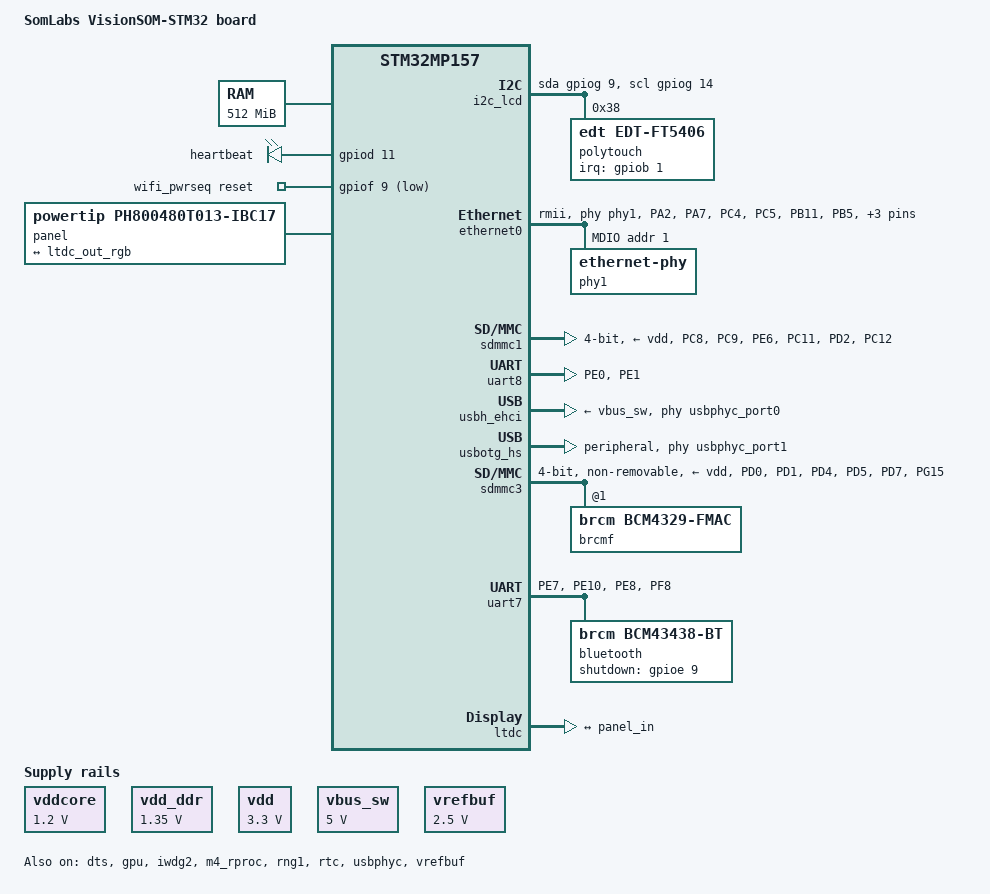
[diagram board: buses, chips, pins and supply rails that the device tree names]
// SPDX-License-Identifier: (GPL-2.0+ OR BSD-3-Clause)
/*
 * Copyright (C) STMicroelectronics 2018 - All Rights Reserved
 * Author: Alexandre Torgue <alexandre.torgue@st.com>.
 */

/dts-v1/;

#include "stm32mp157c.dtsi"
#include "stm32mp157c-m4-srm.dtsi"
#include "stm32mp157cab-pinctrl.dtsi"
#include <dt-bindings/gpio/gpio.h>
#include <dt-bindings/input/input.h>
#include <dt-bindings/rtc/rtc-stm32.h>

/ {
	model = "SomLabs VisionSOM-STM32 board";
	compatible = "st,stm32mp157a-visionsom", "st,stm32mp157a-dk1", "st,stm32mp157";

	aliases {
		ethernet0 = &ethernet0;
		serial0 = &uart8;
        serial1 = &uart7;
	};

	chosen {
		stdout-path = "serial0:115200n8";
	};

	memory@c0000000 {
		reg = <0xc0000000 0x20000000>;
	};

	reserved-memory {
		#address-cells = <1>;
		#size-cells = <1>;
		ranges;

		retram: retram@0x38000000 {
			compatible = "shared-dma-pool";
			reg = <0x38000000 0x10000>;
			no-map;
		};

		mcuram: mcuram@0x30000000 {
			compatible = "shared-dma-pool";
			reg = <0x30000000 0x40000>;
			no-map;
		};

		mcuram2: mcuram2@0x10000000 {
			compatible = "shared-dma-pool";
			reg = <0x10000000 0x40000>;
			no-map;
		};

		vdev0vring0: vdev0vring0@10040000 {
			compatible = "shared-dma-pool";
			reg = <0x10040000 0x2000>;
			no-map;
		};

		vdev0vring1: vdev0vring1@10042000 {
			compatible = "shared-dma-pool";
			reg = <0x10042000 0x2000>;
			no-map;
		};

		vdev0buffer: vdev0buffer@10044000 {
			compatible = "shared-dma-pool";
			reg = <0x10044000 0x4000>;
			no-map;
		};

		gpu_reserved: gpu@dc000000 {
			reg = <0xdc000000 0x4000000>;
			no-map;
		};
	};

	sram: sram@10050000 {
		compatible = "mmio-sram";
		reg = <0x10050000 0x10000>;
		#address-cells = <1>;
		#size-cells = <1>;
		ranges = <0 0x10050000 0x10000>;

		dma_pool: dma_pool@0 {
			reg = <0x0 0x10000>;
			pool;
		};
	};

	led {
		compatible = "gpio-leds";
		blue {
			label = "heartbeat";
			gpios = <&gpiod 11 GPIO_ACTIVE_HIGH>;
			linux,default-trigger = "heartbeat";
			default-state = "off";
		};
	};

	usb_phy_tuning: usb-phy-tuning {
		st,hs-dc-level = <2>;
		st,fs-rftime-tuning;
		st,hs-rftime-reduction;
		st,hs-current-trim = <15>;
		st,hs-impedance-trim = <1>;
		st,squelch-level = <3>;
		st,hs-rx-offset = <2>;
		st,no-lsfs-sc;
	};

    vddcore: regulator-vddcore {
        compatible = "regulator-fixed";
        regulator-name = "vddcore";
        regulator-min-microvolt = <1200000>;
        regulator-max-microvolt = <1200000>;
        enable-active-high;
        regulator-always-on;
        regulator-initial-mode = <0>;
        //regulator-over-current-protection;
    };

    vdd_ddr: regulator_cvv_ddr {
        compatible = "regulator-fixed";
        regulator-name = "vdd_ddr";
        regulator-min-microvolt = <1350000>;
        regulator-max-microvolt = <1350000>;
        enable-active-high;
        regulator-always-on;
        regulator-initial-mode = <0>;
        //regulator-over-current-protection;
    };

    vdd: regulator_vdd {
        compatible = "regulator-fixed";
        regulator-name = "vdd";
        regulator-min-microvolt = <3300000>;
        regulator-max-microvolt = <3300000>;
        enable-active-high;
        regulator-always-on;
        regulator-initial-mode = <0>;
        //regulator-over-current-protection;
    };

	vbus_sw: regulator_vbus_sw {
		//pinctrl-names = "default";
		//pinctrl-0 = <&usb_vbus_sw_mx>;
		compatible = "regulator-fixed";
        regulator-name = "VBUS";
        regulator-min-microvolt = <5000000>;
        regulator-max-microvolt = <5000000>;
		//gpio = <&gpioc 2 GPIO_ACTIVE_LOW>;
		enable-active-high;
	};

    wifi_pwrseq: wifi-pwrseq {      /* WLAN-ENABLE/WL_REG_ON */
		compatible = "mmc-pwrseq-simple";
		reset-gpios = <&gpiof 9 GPIO_ACTIVE_LOW>;
	};

/*
	backlight_display: backlight-display {
			compatible = "pwm-backlight";
			pwms = <&pwm1 0 5000000>;
			brightness-levels = <0 4 8 16 32 64 128 255>;
			default-brightness-level = <6>;
			status = "okay";
	};
*/
	panel {
		compatible = "powertip,ph800480t013-ibc17", "simple-panel";

		pinctrl-names = "default", "sleep";
		pinctrl-0 = <&ltdc_pins_mx>;
		pinctrl-1 = <&ltdc_sleep_pins_mx>;
//		backlight = <&backlight_display>;

		//bits-per-pixel = <16>;
		//bus-width = <24>;

		// display-timings {
		// 	native-mode = <&timing0>;
		// 	timing0: timing0 {
		// 		clock-frequency = <33300000>;
		// 		hactive = <800>;
		// 		vactive = <480>;
		// 		hfront-porch = <210>;
		// 		hback-porch = <46>;
		// 		hsync-len = <46>;
		// 		vback-porch = <23>;
		// 		vfront-porch = <22>;
		// 		vsync-len = <23>;

		// 		hsync-active = <0>;
		// 		vsync-active = <0>;
		// 		de-active = <1>;
		// 		pixelclk-active = <0>;
		// 	};
		// };

		port {
			panel_in: endpoint {
				remote-endpoint = <&ltdc_out_rgb>;
			};
		};
	};

	i2c_lcd: i2c@0 {
		#address-cells = <1>;
		#size-cells = <0>;
		/* The lcd panel i2c interface is hooked up via gpios */
		compatible = "i2c-gpio";
		//pinctrl-names = "default";
		//pinctrl-0 = <&i2c_lcd_pins_mx>;
		gpios = <&gpiog 9 GPIO_ACTIVE_HIGH>, /* PG9, sda */
				<&gpiog 14 GPIO_ACTIVE_HIGH>; /* PG14, scl */
		i2c-gpio,delay-us = <5>;

		polytouch: edt-ft5x06@38 {
			compatible = "edt,edt-ft5406", "edt,edt-ft5x06";
			reg = <0x38>;
			pinctrl-names = "default";
			pinctrl-0 = <&pinctrl_edt_ft5x06_mx>;
			interrupt-parent = <&gpiob>;
			interrupts = <1 IRQ_TYPE_EDGE_FALLING>;

			touchscreen-size-x = <800>;
			touchscreen-size-y = <480>;
			touchscreen-inverted-x;
			touchscreen-inverted-y;
		};
	};
};

&dma1 {
	sram = <&dma_pool>;
};

&dma2 {
	sram = <&dma_pool>;
};

&dts {
	status = "okay";
};

&ethernet0 {
	status = "okay";
	pinctrl-0 = <&eth1_pins_mx>;
	pinctrl-1 = <&eth1_sleep_pins_mx>;
	pinctrl-names = "default", "sleep";
	phy-mode = "rmii";
	max-speed = <100>;
	phy-handle = <&phy1>;
	st,eth_ref_clk_sel = <1>;
	clock-names = "stmmaceth",
		"mac-clk-tx",
		"mac-clk-rx",
		"eth-ck",
		"syscfg-clk",
		"ethstp";
	clocks = <&rcc ETHMAC>,
		<&rcc ETHTX>,
		<&rcc ETHRX>,
		<&rcc ETHCK_K>,
		<&rcc SYSCFG>,
		<&rcc ETHSTP>;

	mdio0 {
		#address-cells = <1>;
		#size-cells = <0>;
		compatible = "snps,dwmac-mdio";
		phy1: ethernet-phy@1 {
			reg = <1>;
			clocks = <&rcc ETHCK_K>;
			clock-names = "rmii-ref";
		};
	};
};

&gpu {
	contiguous-area = <&gpu_reserved>;
	status = "okay";
};

&ipcc {
	status = "okay";
};

&iwdg2 {
	timeout-sec = <32>;
	status = "okay";
};

&m4_rproc {
	memory-region = <&retram>, <&mcuram>, <&mcuram2>, <&vdev0vring0>,
			<&vdev0vring1>, <&vdev0buffer>;
	mboxes = <&ipcc 0>, <&ipcc 1>, <&ipcc 2>;
	mbox-names = "vq0", "vq1", "shutdown";
	interrupt-parent = <&exti>;
	interrupts = <68 1>;
	interrupt-names = "wdg";
	recovery;
	status = "okay";
};

&pwr {
	pwr-supply = <&vdd>;
};

&rng1 {
	status = "okay";
};

&rtc {
	st,lsco = <RTC_OUT1>;
	pinctrl-0 = <&rtc_out2_rmp_pins_a>;
	pinctrl-names = "default";

	status = "okay";
};

&sdmmc1 {
	pinctrl-names = "default", "opendrain", "sleep";
	pinctrl-0 = <&sdmmc1_pins_mx>;
	pinctrl-1 = <&sdmmc1_opendrain_pins_mx>;
	pinctrl-2 = <&sdmmc1_sleep_pins_mx>;
	broken-cd;
	st,neg-edge;
	bus-width = <4>;
	vmmc-supply = <&vdd>;
	status = "okay";
};

&uart8 {
	pinctrl-names = "default", "sleep", "idle", "no_console_suspend";
	pinctrl-0 = <&uart8_pins_mx>;
	pinctrl-1 = <&uart8_sleep_pins_mx>;
	pinctrl-2 = <&uart8_sleep_pins_mx>;
	pinctrl-3 = <&uart8_pins_mx>;
	status = "okay";
};

&usbh_ehci {
	phys = <&usbphyc_port0>;
	phy-names = "usb";
	vbus-supply = <&vbus_sw>;
	status = "okay";
};

&usbotg_hs {
	dr_mode = "peripheral";
	force-b-session-valid;
	phys = <&usbphyc_port1 0>;
	phy-names = "usb2-phy";
	status = "okay";
};

&usbphyc {
	vdd3v3-supply = <&vdd>;
	status = "okay";
};

&usbphyc_port0 {
	st,phy-tuning = <&usb_phy_tuning>;
};

&usbphyc_port1 {
	st,phy-tuning = <&usb_phy_tuning>;
};

&vrefbuf {
	regulator-min-microvolt = <2500000>;
	regulator-max-microvolt = <2500000>;
	vdda-supply = <&vdd>;
	status = "okay";
};

/* Wifi */
&sdmmc3 {
	arm,primecell-periphid = <0x10153180>;
	pinctrl-names = "default", "opendrain", "sleep";
	pinctrl-0 = <&sdmmc3_pins_mx>;
	pinctrl-1 = <&sdmmc3_opendrain_pins_mx>;
	pinctrl-2 = <&sdmmc3_sleep_pins_mx>;
	clocks = <&rcc SDMMC3_K>, <&rcc CK_MCO1>;
	clock-names = "apb_pclk", "ck_mco1";
	non-removable;
	st,neg-edge;
	bus-width = <4>;
	vmmc-supply = <&vdd>;
	mmc-pwrseq = <&wifi_pwrseq>;
	#address-cells = <1>;
	#size-cells = <0>;
	keep-power-in-suspend;
	status = "okay";

	brcmf: bcrmf@1 {
		reg = <1>;
		compatible = "brcm,bcm4329-fmac";
	};
};


/* Bluetooth */
&uart7 {
	pinctrl-names = "default", "sleep";
	pinctrl-0 = <&uart7_pins_mx>;
	pinctrl-1 = <&uart7_sleep_pins_mx>;
	st,hw-flow-ctrl;
	status = "okay";

	bluetooth {
		shutdown-gpios = <&gpioe 9 GPIO_ACTIVE_HIGH>;
		compatible = "brcm,bcm43438-bt";
		max-speed = <3000000>;
	};
};


&ltdc {
	status = "okay";

	port {
		ltdc_out_rgb: endpoint {
			//reg = <1>;
			remote-endpoint = <&panel_in>;
		};
	};
};


&pinctrl {


	adc_pins_mx: adc_mx-0 {
		pins {
			pinmux = <STM32_PINMUX('A', 0, ANALOG)>, /* ADC1_INP16 */
					 <STM32_PINMUX('B', 1, ANALOG)>, /* ADC1_INP5 */
					 <STM32_PINMUX('C', 0, ANALOG)>, /* ADC1_INP10 */
					 <STM32_PINMUX('C', 3, ANALOG)>; /* ADC1_INP13 */
		};
	};

	adc_sleep_pins_mx: adc_sleep_mx-0 {
		pins {
			pinmux = <STM32_PINMUX('A', 0, ANALOG)>, /* ADC1_INP16 */
					 <STM32_PINMUX('B', 1, ANALOG)>, /* ADC1_INP5 */
					 <STM32_PINMUX('C', 0, ANALOG)>, /* ADC1_INP10 */
					 <STM32_PINMUX('C', 3, ANALOG)>; /* ADC1_INP13 */
		};
	};

	eth1_pins_mx: eth1_mx-0 {
		pins1 {
			pinmux = <STM32_PINMUX('A', 2, AF11)>; /* ETH1_MDIO */
			bias-pull-up;
			drive-push-pull;
			slew-rate = <0>;
		};
		pins2 {
			pinmux = <STM32_PINMUX('A', 7, AF11)>, /* ETH1_CRS_DV */
					 <STM32_PINMUX('C', 4, AF11)>, /* ETH1_RXD0 */
					 <STM32_PINMUX('C', 5, AF11)>; /* ETH1_RXD1 */
			bias-disable;
		};
		pins3 {
			pinmux = <STM32_PINMUX('B', 11, AF11)>; /* ETH1_TX_EN */
		};
		pins4 {
			pinmux = <STM32_PINMUX('B', 5, AF0)>, /* ETH1_CLK */
					 <STM32_PINMUX('B', 13, AF11)>, /* ETH1_TXD1 */
					 <STM32_PINMUX('G', 13, AF11)>, /* ETH1_TXD0 */
					 <STM32_PINMUX('C', 1, AF11)>; /* ETH1_MDC */
			bias-disable;
			drive-push-pull;
			slew-rate = <1>;
		};
	};

	eth1_sleep_pins_mx: eth1_sleep_mx-0 {
		pins {
			pinmux = <STM32_PINMUX('A', 2, ANALOG)>, /* ETH1_MDIO */
					 <STM32_PINMUX('A', 7, ANALOG)>, /* ETH1_CRS_DV */
					 <STM32_PINMUX('B', 5, ANALOG)>, /* ETH1_CLK */
					 <STM32_PINMUX('B', 11, ANALOG)>, /* ETH1_TX_EN */
					 <STM32_PINMUX('B', 13, ANALOG)>, /* ETH1_TXD1 */
					 <STM32_PINMUX('C', 1, ANALOG)>, /* ETH1_MDC */
					 <STM32_PINMUX('C', 4, ANALOG)>, /* ETH1_RXD0 */
					 <STM32_PINMUX('C', 5, ANALOG)>, /* ETH1_RXD1 */
					 <STM32_PINMUX('G', 13, ANALOG)>; /* ETH1_TXD0 */
		};
	};

	ltdc_pins_mx: ltdc_mx-0 {
		pins1 {
			pinmux = <STM32_PINMUX('A', 3, AF14)>, /* LTDC_B5 */
					 <STM32_PINMUX('A', 4, AF14)>, /* LTDC_VSYNC */
					 <STM32_PINMUX('A', 5, AF14)>, /* LTDC_R4 */
					 <STM32_PINMUX('A', 6, AF14)>, /* LTDC_G2 */
					 <STM32_PINMUX('A', 8, AF14)>, /* LTDC_R6 */
					 <STM32_PINMUX('A', 9, AF14)>, /* LTDC_R5 */
					 <STM32_PINMUX('B', 0, AF9)>, /* LTDC_R3 */
					 <STM32_PINMUX('B', 8, AF14)>, /* LTDC_B6 */
					 <STM32_PINMUX('B', 9, AF14)>, /* LTDC_B7 */
					 <STM32_PINMUX('B', 10, AF14)>, /* LTDC_G4 */
					 <STM32_PINMUX('C', 6, AF14)>, /* LTDC_HSYNC */
					 <STM32_PINMUX('C', 7, AF14)>, /* LTDC_G6 */
					 <STM32_PINMUX('C', 10, AF14)>, /* LTDC_R2 */
					 <STM32_PINMUX('D', 6, AF14)>, /* LTDC_B2 */
					 <STM32_PINMUX('D', 10, AF14)>, /* LTDC_B3 */
					 <STM32_PINMUX('E', 11, AF14)>, /* LTDC_G3 */
					 <STM32_PINMUX('E', 12, AF14)>, /* LTDC_B4 */
					 <STM32_PINMUX('E', 13, AF14)>, /* LTDC_DE */
					 <STM32_PINMUX('E', 15, AF14)>, /* LTDC_R7 */
					 <STM32_PINMUX('F', 11, AF14)>, /* LTDC_G5 */
					 <STM32_PINMUX('G', 8, AF14)>; /* LTDC_G7 */
			bias-disable;
			drive-push-pull;
			slew-rate = <0>;
		};
		pins2 {
			pinmux = <STM32_PINMUX('E', 14, AF14)>; /* LTDC_CLK */
			bias-disable;
			drive-push-pull;
			slew-rate = <1>;
		};
	};

	ltdc_sleep_pins_mx: ltdc_sleep_mx-0 {
		pins {
			pinmux = <STM32_PINMUX('A', 3, ANALOG)>, /* LTDC_B5 */
					 <STM32_PINMUX('A', 4, ANALOG)>, /* LTDC_VSYNC */
					 <STM32_PINMUX('A', 5, ANALOG)>, /* LTDC_R4 */
					 <STM32_PINMUX('A', 6, ANALOG)>, /* LTDC_G2 */
					 <STM32_PINMUX('A', 8, ANALOG)>, /* LTDC_R6 */
					 <STM32_PINMUX('A', 9, ANALOG)>, /* LTDC_R5 */
					 <STM32_PINMUX('B', 0, ANALOG)>, /* LTDC_R3 */
					 <STM32_PINMUX('B', 8, ANALOG)>, /* LTDC_B6 */
					 <STM32_PINMUX('B', 9, ANALOG)>, /* LTDC_B7 */
					 <STM32_PINMUX('B', 10, ANALOG)>, /* LTDC_G4 */
					 <STM32_PINMUX('C', 6, ANALOG)>, /* LTDC_HSYNC */
					 <STM32_PINMUX('C', 7, ANALOG)>, /* LTDC_G6 */
					 <STM32_PINMUX('C', 10, ANALOG)>, /* LTDC_R2 */
					 <STM32_PINMUX('D', 6, ANALOG)>, /* LTDC_B2 */
					 <STM32_PINMUX('D', 10, ANALOG)>, /* LTDC_B3 */
					 <STM32_PINMUX('E', 11, ANALOG)>, /* LTDC_G3 */
					 <STM32_PINMUX('E', 12, ANALOG)>, /* LTDC_B4 */
					 <STM32_PINMUX('E', 13, ANALOG)>, /* LTDC_DE */
					 <STM32_PINMUX('E', 14, ANALOG)>, /* LTDC_CLK */
					 <STM32_PINMUX('E', 15, ANALOG)>, /* LTDC_R7 */
					 <STM32_PINMUX('F', 11, ANALOG)>, /* LTDC_G5 */
					 <STM32_PINMUX('G', 8, ANALOG)>; /* LTDC_G7 */
		};
	};

	rtc_out2_rmp_pins_a: rtc-out2-rmp-pins@0 {
		pins {
			pinmux = <STM32_PINMUX('C', 13, ANALOG)>; /* RTC_OUT2_RMP */
		};
	};

	sdmmc1_pins_mx: sdmmc1_mx-0 {
		pins1 {
            pinmux = <STM32_PINMUX('C', 8, AF12)>, /* SDMMC1_D0 */
                    <STM32_PINMUX('C', 9, AF12)>, /* SDMMC1_D1 */
                    <STM32_PINMUX('E', 6, AF8)>, /* SDMMC1_D2 */
                    <STM32_PINMUX('C', 11, AF12)>, /* SDMMC1_D3 */
                    <STM32_PINMUX('D', 2, AF12)>; /* SDMMC1_CMD */
            slew-rate = <1>;
            drive-push-pull;
            bias-disable;
		};
        pins2 {
            pinmux = <STM32_PINMUX('C', 12, AF12)>; /* SDMMC1_CK */
            slew-rate = <2>;
            drive-push-pull;
            bias-disable;
        };
	};

	sdmmc1_opendrain_pins_mx: sdmmc1_opendrain_mx-0 {
        pins1 {
            pinmux = <STM32_PINMUX('C', 8, AF12)>, /* SDMMC1_D0 */
                    <STM32_PINMUX('C', 9, AF12)>, /* SDMMC1_D1 */
                    <STM32_PINMUX('E', 6, AF8)>, /* SDMMC1_D2 */
                    <STM32_PINMUX('C', 11, AF12)>; /* SDMMC1_D3 */
            slew-rate = <1>;
            drive-push-pull;
            bias-disable;
        };
        pins2 {
            pinmux = <STM32_PINMUX('C', 12, AF12)>; /* SDMMC1_CK */
            slew-rate = <2>;
            drive-push-pull;
            bias-disable;
        };
        pins3 {
            pinmux = <STM32_PINMUX('D', 2, AF12)>; /* SDMMC1_CMD */
            slew-rate = <1>;
            drive-open-drain;
            bias-disable;
        };
	};

	sdmmc1_sleep_pins_mx: sdmmc1_sleep_mx-0 {
        pins {
            pinmux = <STM32_PINMUX('C', 8, ANALOG)>, /* SDMMC1_D0 */
                    <STM32_PINMUX('C', 9, ANALOG)>, /* SDMMC1_D1 */
                    <STM32_PINMUX('E', 6, ANALOG)>, /* SDMMC1_D2 */
                    <STM32_PINMUX('C', 11, ANALOG)>, /* SDMMC1_D3 */
                    <STM32_PINMUX('C', 12, ANALOG)>, /* SDMMC1_CK */
                    <STM32_PINMUX('D', 2, ANALOG)>; /* SDMMC1_CMD */
        };
	};

	sdmmc2_pins_mx: sdmmc2_mx-0 {
		pins1 {
			pinmux = <STM32_PINMUX('B', 3, AF9)>, /* SDMMC2_D2 */
					 <STM32_PINMUX('B', 4, AF9)>, /* SDMMC2_D3 */
					 <STM32_PINMUX('B', 14, AF9)>, /* SDMMC2_D0 */
					 <STM32_PINMUX('B', 15, AF9)>, /* SDMMC2_D1 */
					 <STM32_PINMUX('G', 6, AF10)>; /* SDMMC2_CMD */
			bias-disable;
			drive-push-pull;
			slew-rate = <1>;
		};
		pins2 {
			pinmux = <STM32_PINMUX('E', 3, AF9)>; /* SDMMC2_CK */
			bias-disable;
			drive-push-pull;
			slew-rate = <3>;
		};
	};

	sdmmc2_opendrain_pins_mx: sdmmc2_opendrain_mx-0 {
		pins1 {
			pinmux = <STM32_PINMUX('B', 3, AF9)>, /* SDMMC2_D2 */
					 <STM32_PINMUX('B', 4, AF9)>, /* SDMMC2_D3 */
					 <STM32_PINMUX('B', 14, AF9)>, /* SDMMC2_D0 */
					 <STM32_PINMUX('B', 15, AF9)>; /* SDMMC2_D1 */
			bias-disable;
			drive-push-pull;
			slew-rate = <1>;
		};
		pins2 {
			pinmux = <STM32_PINMUX('E', 3, AF9)>; /* SDMMC2_CK */
			bias-disable;
			drive-push-pull;
			slew-rate = <3>;
		};
		pins3 {
			pinmux = <STM32_PINMUX('G', 6, AF10)>; /* SDMMC2_CMD */
			bias-disable;
			drive-open-drain;
			slew-rate = <1>;
		};
	};

	sdmmc2_sleep_pins_mx: sdmmc2_sleep_mx-0 {
		pins {
			pinmux = <STM32_PINMUX('B', 3, ANALOG)>, /* SDMMC2_D2 */
					 <STM32_PINMUX('B', 4, ANALOG)>, /* SDMMC2_D3 */
					 <STM32_PINMUX('B', 14, ANALOG)>, /* SDMMC2_D0 */
					 <STM32_PINMUX('B', 15, ANALOG)>, /* SDMMC2_D1 */
					 <STM32_PINMUX('E', 3, ANALOG)>, /* SDMMC2_CK */
					 <STM32_PINMUX('G', 6, ANALOG)>; /* SDMMC2_CMD */
		};
	};

	sdmmc3_pins_mx: sdmmc3_mx-0 {
		pins1 {
			pinmux = <STM32_PINMUX('D', 0, AF10)>, /* SDMMC3_CMD */
					 <STM32_PINMUX('D', 1, AF10)>, /* SDMMC3_D0 */
					 <STM32_PINMUX('D', 4, AF10)>, /* SDMMC3_D1 */
					 <STM32_PINMUX('D', 5, AF10)>, /* SDMMC3_D2 */
					 <STM32_PINMUX('D', 7, AF10)>; /* SDMMC3_D3 */
			bias-disable;
			drive-push-pull;
			slew-rate = <1>;
		};
		pins2 {
			pinmux = <STM32_PINMUX('G', 15, AF10)>; /* SDMMC3_CK */
			bias-disable;
			drive-push-pull;
			slew-rate = <3>;
		};
	};

	sdmmc3_opendrain_pins_mx: sdmmc3_opendrain_mx-0 {
		pins1 {
			pinmux = <STM32_PINMUX('D', 0, AF10)>; /* SDMMC3_CMD */
			bias-disable;
			drive-open-drain;
			slew-rate = <1>;
		};
		pins2 {
			pinmux = <STM32_PINMUX('D', 1, AF10)>, /* SDMMC3_D0 */
					 <STM32_PINMUX('D', 4, AF10)>, /* SDMMC3_D1 */
					 <STM32_PINMUX('D', 5, AF10)>, /* SDMMC3_D2 */
					 <STM32_PINMUX('D', 7, AF10)>; /* SDMMC3_D3 */
			bias-disable;
			drive-push-pull;
			slew-rate = <1>;
		};
		pins3 {
			pinmux = <STM32_PINMUX('G', 15, AF10)>; /* SDMMC3_CK */
			bias-disable;
			drive-push-pull;
			slew-rate = <3>;
		};
	};

	sdmmc3_sleep_pins_mx: sdmmc3_sleep_mx-0 {
		pins {
			pinmux = <STM32_PINMUX('D', 0, ANALOG)>, /* SDMMC3_CMD */
					 <STM32_PINMUX('D', 1, ANALOG)>, /* SDMMC3_D0 */
					 <STM32_PINMUX('D', 4, ANALOG)>, /* SDMMC3_D1 */
					 <STM32_PINMUX('D', 5, ANALOG)>, /* SDMMC3_D2 */
					 <STM32_PINMUX('D', 7, ANALOG)>, /* SDMMC3_D3 */
					 <STM32_PINMUX('G', 15, ANALOG)>; /* SDMMC3_CK */
		};
	};

	uart4_pins_mx: uart4_mx-0 {
		pins1 {
			pinmux = <STM32_PINMUX('B', 2, AF8)>; /* UART4_RX */
			bias-disable;
		};
		pins2 {
			pinmux = <STM32_PINMUX('G', 11, AF6)>; /* UART4_TX */
			bias-disable;
			drive-push-pull;
			slew-rate = <0>;
		};
	};

	uart4_sleep_pins_mx: uart4_sleep_mx-0 {
		pins {
			pinmux = <STM32_PINMUX('B', 2, ANALOG)>, /* UART4_RX */
					 <STM32_PINMUX('G', 11, ANALOG)>; /* UART4_TX */
		};
	};

	uart7_pins_mx: uart7_mx-0 {
		pins1 {
			pinmux = <STM32_PINMUX('E', 7, AF7)>, /* UART7_RX */
					 <STM32_PINMUX('E', 10, AF7)>; /* UART7_CTS */
			bias-disable;
		};
		pins2 {
			pinmux = <STM32_PINMUX('E', 8, AF7)>, /* UART7_TX */
					 <STM32_PINMUX('F', 8, AF7)>; /* UART7_RTS */
			bias-disable;
			drive-push-pull;
			slew-rate = <0>;
		};
	};

	uart7_sleep_pins_mx: uart7_sleep_mx-0 {
		pins {
			pinmux = <STM32_PINMUX('E', 7, ANALOG)>, /* UART7_RX */
					 <STM32_PINMUX('E', 8, ANALOG)>, /* UART7_TX */
					 <STM32_PINMUX('E', 10, ANALOG)>, /* UART7_CTS */
					 <STM32_PINMUX('F', 8, ANALOG)>; /* UART7_RTS */
		};
	};

	uart8_pins_mx: uart8_mx-0 {
		pins1 {
			pinmux = <STM32_PINMUX('E', 0, AF8)>; /* UART8_RX */
			bias-disable;
		};
		pins2 {
			pinmux = <STM32_PINMUX('E', 1, AF8)>; /* UART8_TX */
			bias-disable;
			drive-push-pull;
			slew-rate = <0>;
		};
	};

	uart8_sleep_pins_mx: uart8_sleep_mx-0 {
		pins {
			pinmux = <STM32_PINMUX('E', 0, ANALOG)>, /* UART8_RX */
					 <STM32_PINMUX('E', 1, ANALOG)>; /* UART8_TX */
		};
	};

	usart1_pins_mx: usart1_mx-0 {
		pins1 {
			pinmux = <STM32_PINMUX('A', 10, AF7)>, /* USART1_RX */
					 <STM32_PINMUX('A', 11, AF7)>; /* USART1_CTS */
			bias-disable;
		};
		pins2 {
			pinmux = <STM32_PINMUX('A', 12, AF7)>, /* USART1_RTS */
					 <STM32_PINMUX('B', 6, AF7)>; /* USART1_TX */
			bias-disable;
			drive-push-pull;
			slew-rate = <0>;
		};
	};

	usart1_sleep_pins_mx: usart1_sleep_mx-0 {
		pins {
			pinmux = <STM32_PINMUX('A', 10, ANALOG)>, /* USART1_RX */
					 <STM32_PINMUX('A', 11, ANALOG)>, /* USART1_CTS */
					 <STM32_PINMUX('A', 12, ANALOG)>, /* USART1_RTS */
					 <STM32_PINMUX('B', 6, ANALOG)>; /* USART1_TX */
		};
	};

	usart3_pins_mx: usart3_mx-0 {
		pins1 {
			pinmux = <STM32_PINMUX('D', 9, AF7)>, /* USART3_RX */
					 <STM32_PINMUX('D', 11, AF7)>; /* USART3_CTS */
			bias-disable;
		};
		pins2 {
			pinmux = <STM32_PINMUX('D', 8, AF7)>, /* USART3_TX */
					 <STM32_PINMUX('D', 12, AF7)>; /* USART3_RTS */
			bias-disable;
			drive-push-pull;
			slew-rate = <0>;
		};
	};

	usart3_sleep_pins_mx: usart3_sleep_mx-0 {
		pins {
			pinmux = <STM32_PINMUX('D', 8, ANALOG)>, /* USART3_TX */
					 <STM32_PINMUX('D', 9, ANALOG)>, /* USART3_RX */
					 <STM32_PINMUX('D', 11, ANALOG)>, /* USART3_CTS */
					 <STM32_PINMUX('D', 12, ANALOG)>; /* USART3_RTS */
		};
	};

	usart6_pins_mx: usart6_mx-0 {
		pins1 {
			pinmux = <STM32_PINMUX('G', 14, AF7)>; /* USART6_TX */
			bias-disable;
			drive-push-pull;
			slew-rate = <0>;
		};
		pins2 {
			pinmux = <STM32_PINMUX('G', 9, AF7)>; /* USART6_RX */
			bias-disable;
		};
	};

	usart6_sleep_pins_mx: usart6_sleep_mx-0 {
		pins {
			pinmux = <STM32_PINMUX('G', 9, ANALOG)>, /* USART6_RX */
					 <STM32_PINMUX('G', 14, ANALOG)>; /* USART6_TX */
		};
	};

	usb_vbus_sw_mx: usb_vbus_sw_mx-0 {
		pins {
			pinmux = <STM32_PINMUX('C', 2, GPIO)>;
			//bias-disable;
			bias-pull-up;
			drive-push-pull;
			slew-rate = <0>;
		};
	};


	i2c_lcd_pins_mx: i2c_lcd_pins_mx-0 {
		pins {
			pinmux = <STM32_PINMUX('G', 9, GPIO)>,
					 <STM32_PINMUX('G', 14, GPIO)>;
			bias-disable;
			drive-open-drain;
			slew-rate = <0>;
		};
	};

	pinctrl_edt_ft5x06_mx: pinctrl_edt_ft5x06_mx-0 {
		pins {
			pinmux = <STM32_PINMUX('B', 1, GPIO)>;
			bias-pull-up;
			drive-push-pull;
			slew-rate = <0>;
		};
	};

};
